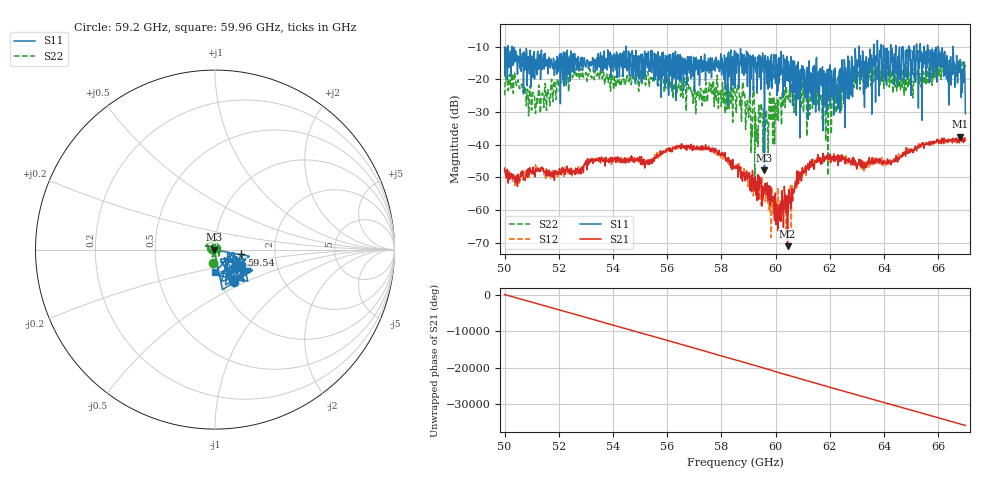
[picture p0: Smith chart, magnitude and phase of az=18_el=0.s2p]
!Created with skrf (http://scikit-rf.org).
# GHz S RI R 50.0
!freq ReS11 ImS11 ReS21 ImS21 ReS12 ImS12 ReS22 ImS22
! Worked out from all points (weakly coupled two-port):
!   1001 points, 50 GHz to 67 GHz, reference 50 ohm
!   highest |S21| = -37.57 dB at 66.81 GHz (marker M1); lowest = -71.1 dB at 60.44 GHz (marker M2)
!   lowest |S11| = -47.8 dB at 59.59 GHz (marker M3), VSWR 1.01, Z = 49.6 - j0.104 ohm
!   |S11| at or under -10 dB: 50.27 GHz to 54.49 GHz (4.215 GHz wide, 8.05 % of centre); 54.49 GHz to 63.07 GHz (8.584 GHz wide, 14.6 % of centre); 63.07 GHz to 63.61 GHz (540.7 MHz wide, 0.854 % of centre) (the widest 3 of 19)
!   |S22| runs from -49.8 to -14.1 dB; largest |S21 - S12| = 0.0021
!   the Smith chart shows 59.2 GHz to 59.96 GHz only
!   S11 on the Smith chart (normalised r, x): 59.2 GHz: 1.15, -0.44; 59.54 GHz: 1.34, -0.07; 59.96 GHz: 0.97, -0.25
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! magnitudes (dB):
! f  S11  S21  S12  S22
! 50 GHz  -10.1  -47.2  -47.7  -24.9
! 50.42 GHz  -14.1  -50.9  -49.7  -21.5
! 51.07 GHz  -12.2  -49.1  -48.7  -24.1
! 52.84 GHz  -14.2  -46.9  -46.7  -19.2
! 55.68 GHz  -13.5  -43.2  -43.9  -22.0
! 57.36 GHz  -14.8  -40.8  -40.7  -25.4
! 58.5 GHz  -22.6  -46.7  -46.9  -24.3
! 59.2 GHz  -13.5  -50.6  -51.9  -22.6
! 59.54 GHz  -16.5  -56.3  -57.2  -45.4
! 59.59 GHz  -47.8  -54.2  -54.2  -31.1
! 59.96 GHz  -18.0  -63.1  -59.8  -39.7
! 60.44 GHz  -18.0  -71.1  -69.1  -25.8
! 61.34 GHz  -26.1  -44.5  -46.3  -25.5
! 62 GHz  -15.6  -42.9  -43.5  -25.0
! 62.55 GHz  -14.7  -43.9  -43.7  -19.5
! 63.01 GHz  -23.0  -46.6  -46.7  -20.0
! 63.33 GHz  -22.7  -46.3  -45.5  -19.2
! 63.69 GHz  -27.0  -44.1  -45.1  -16.2
! 64.18 GHz  -19.0  -45.0  -45.2  -18.7
! 66.08 GHz  -15.6  -39.4  -39.5  -15.6
! 66.81 GHz  -13.9  -37.6  -38.5  -15.2
! 67 GHz  -30.6  -38.6  -38.2  -15.6
